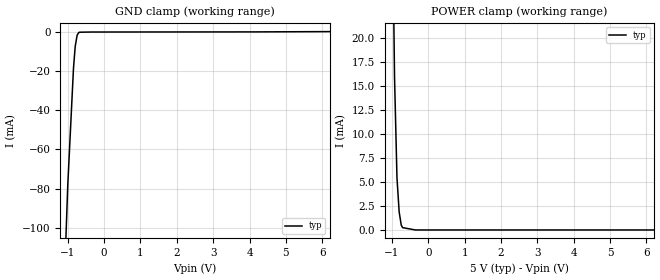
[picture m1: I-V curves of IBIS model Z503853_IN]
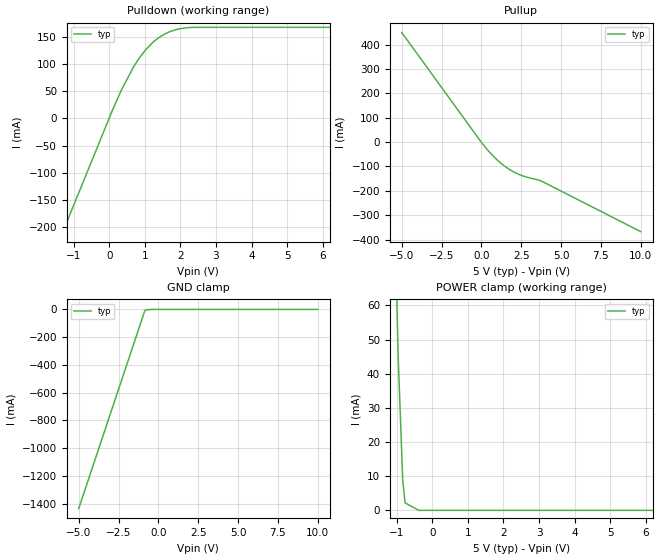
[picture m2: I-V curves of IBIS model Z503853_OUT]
| YOU ARE ONLY AUTHORIZED TO USE THIS SOFTWARE
| ACCORDING TO LICENSOR'S LICENSE RESTRICTIONS.
[IBIS Ver] 3.1
[File Name] mc74act32d.ibs
[File Rev] 2.0
[Source] Measured and created by ICX Technology
[Date] Friday 7/14/00 9:08:01 AM
[Copyright]
| (C) COPYRIGHT 1993-2000
| MENTOR GRAPHICS CORPORATION
| ICX STANDARD LIBRARY, ICX PROJECT MODELING,
| ICX CUSTOM MODELING, ICX VENDOR MODEL
| ALL RIGHTS RESERVED.
| THE FOLLOWING ARE TRADEMARKS OR SERVICE MARKS OF
| MENTOR GRAPHICS CORPORATION:ICX (R), ICX STANDARD
| LIBRARY(R), ICX PROJECT MODELING(R), ICX CUSTOM
| MODELING(R), qualityIBIS(TM), MODELVIEWER(TM),
| AND MODELEDITOR(TM)
| ALL COPIES OF SOFTWARE, INCLUDING BUT NOT LIMITED TO
| ANY MODIFICATIONS, ENHANCEMENTS OR DERIVATIVE WORKS,
| MUST CONTAIN ALL MENTOR GRAPHICS CORPORATION'S
| NOTICES AND LEGENDS, INCLUDING THOSE EMBEDDED IN
| SOFTWARE AND THOSE AFFIXED TO SOFTWARE MEDIUM
| AND CONTAINER, AS RECEIVED FROM MENTOR GRAPHICS
| CORPORATION.
|  ZAP Model Builder 2.7
[Component] MC74ACT32D
[Manufacturer] OnSemiconductor
[Package]
| variable   typ   min   max
R_pkg  .155ohms NA NA
L_pkg  3.028nH NA NA
C_pkg  .381pF NA NA
[Pin] signal_name  model_name  R_pin  L_pin C_pin
1 A Z503853_IN .16 3.587n .407p
2 B Z503853_IN .156 3.147n .387p
3 Y Z503853_OUT .152 2.717n .367p
4 A Z503853_IN .148 2.297n .347p
5 B Z503853_IN .152 2.717n .367p
6 Y Z503853_OUT .156 3.147n .387p
7 GROUND GND .16 3.587n .407p
8 Y Z503853_OUT .16 3.587n .407p
9 A Z503853_IN .156 3.147n .387p
10 B Z503853_IN .152 2.717n .367p
11 Y Z503853_OUT .148 2.297n .347p
12 A Z503853_IN .152 2.717n .367p
13 B Z503853_IN .156 3.147n .387p
14 VCC POWER .16 3.587n .407p
| Models and submodels in the file (2): Z503853_IN (Input), Z503853_OUT (Output)
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| (C) COPYRIGHT 1993-2000
| MENTOR GRAPHICS CORPORATION
| ICX STANDARD LIBRARY, ICX PROJECT MODELING,
| ICX CUSTOM MODELING, ICX VENDOR MODEL
| ALL RIGHTS RESERVED.
| THE FOLLOWING ARE TRADEMARKS OR SERVICE MARKS OF
| MENTOR GRAPHICS CORPORATION:ICX (R), ICX STANDARD
| LIBRARY(R), ICX PROJECT MODELING(R), ICX CUSTOM
| MODELING(R), qualityIBIS(TM), MODELVIEWER(TM),
| AND MODELEDITOR(TM)
| ALL COPIES OF SOFTWARE, INCLUDING BUT NOT LIMITED TO
| ANY MODIFICATIONS, ENHANCEMENTS OR DERIVATIVE WORKS,
| MUST CONTAIN ALL MENTOR GRAPHICS CORPORATION'S
| NOTICES AND LEGENDS, INCLUDING THOSE EMBEDDED IN
| SOFTWARE AND THOSE AFFIXED TO SOFTWARE MEDIUM
| AND CONTAINER, AS RECEIVED FROM MENTOR GRAPHICS
| CORPORATION.
| Model Application Version 1.89 2/18/99.
[Model] Z503853_IN
Model_type Input
Vinl = 800.0mV
Vinh = 2.000V
C_comp 4.000pF NA NA
| variable typ   min   max
[Voltage Range] 5.000V NA NA
[GND Clamp Reference] 0.000V NA NA
[POWER Clamp Reference] 5.000V NA NA
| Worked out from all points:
|   GND clamp passes 1 mA (typ) near -0.72 V on its own axis
|   POWER clamp passes 1 mA (typ) near -0.76 V on its own axis
[GND Clamp]
-5V       -2.825A    NA         NA
-1.051V   -105.8mA   NA         NA
-997.7mV  -77.82mA   NA         NA
-841.2mV  -18.44mA   NA         NA
-794.1mV  -7.396mA   NA         NA
-741.7mV  -1.662mA   NA         NA
-698.3mV  -341.9uA   NA         NA
-678.6mV  -114.6uA   NA         NA
-339.3mV  -17.22uA   NA         NA
4.141V    46.45uA    NA         NA
10V       479.9uA    NA         NA
[POWER Clamp]
-5V       2.006A     NA         NA
-1.201V   118mA      NA         NA
-1.05V    53.24mA    NA         NA
-928mV    15.93mA    NA         NA
-861mV    5.455mA    NA         NA
-801mV    1.888mA    NA         NA
-743mV    497.6uA    NA         NA
-704mV    240.3uA    NA         NA
-352mV    0A         NA         NA
10V       0A         NA         NA
| (C) COPYRIGHT 1993-2000
| MENTOR GRAPHICS CORPORATION
| ICX STANDARD LIBRARY, ICX PROJECT MODELING,
| ICX CUSTOM MODELING, ICX VENDOR MODEL
| ALL RIGHTS RESERVED.
| THE FOLLOWING ARE TRADEMARKS OR SERVICE MARKS OF
| MENTOR GRAPHICS CORPORATION:ICX (R), ICX STANDARD
| LIBRARY(R), ICX PROJECT MODELING(R), ICX CUSTOM
| MODELING(R), qualityIBIS(TM), MODELVIEWER(TM),
| AND MODELEDITOR(TM)
| ALL COPIES OF SOFTWARE, INCLUDING BUT NOT LIMITED TO
| ANY MODIFICATIONS, ENHANCEMENTS OR DERIVATIVE WORKS,
| MUST CONTAIN ALL MENTOR GRAPHICS CORPORATION'S
| NOTICES AND LEGENDS, INCLUDING THOSE EMBEDDED IN
| SOFTWARE AND THOSE AFFIXED TO SOFTWARE MEDIUM
| AND CONTAINER, AS RECEIVED FROM MENTOR GRAPHICS
| CORPORATION.
| Model Application Version 1.89 2/18/99.
[Model] Z503853_OUT
Model_type Output
Vref=0.000V
Rref=500.0Mohms
Cref=50.00pF
Vmeas=1.500V
C_comp 8.000pF NA NA
| variable typ   min   max
[Voltage Range] 5.000V NA NA
[POWER Clamp Reference] 5.000V NA NA
[Pullup Reference] 5.000V NA NA
[Pulldown Reference] 0.000V NA NA
[GND Clamp Reference] 0.000V NA NA
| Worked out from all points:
|   slope of the pulldown table from 0 to 0.75 V, typ, clamps not added: 7.47 ohm
|   slope of the pullup table from 0 to 0.75 V, typ, clamps not added: 13.2 ohm
[GND Clamp]
-5V       -1.435A    NA         NA
-875.2mV  -17.14mA   NA         NA
-819.8mV  -4.191mA   NA         NA
-409.9mV  0A         NA         NA
10V       0A         NA         NA
[Pulldown]
-5V       -797.5mA   NA         NA
84.42mV   14.86mA    NA         NA
347mV     53.34mA    NA         NA
683.8mV   95.03mA    NA         NA
825.2mV   109.5mA    NA         NA
1.01V     125.2mA    NA         NA
1.216V    139.2mA    NA         NA
1.469V    151.5mA    NA         NA
1.681V    158.7mA    NA         NA
2.012V    164.9mA    NA         NA
2.431V    167.2mA    NA         NA
10V       167.2mA    NA         NA
[Pullup]
-5V       450.4mA    NA         NA
13mV      -2.15mA    NA         NA
606mV     -48.05mA   NA         NA
1.116V    -80.57mA   NA         NA
1.726V    -110.8mA   NA         NA
2.133V    -125.8mA   NA         NA
2.836V    -143.6mA   NA         NA
3.729V    -158.7mA   NA         NA
10V       -367.7mA   NA         NA
[POWER Clamp]
-5V       1.849A     NA         NA
-967mV    45.68mA    NA         NA
-837mV    8.937mA    NA         NA
-771mV    2.205mA    NA         NA
-385.5mV  0A         NA         NA
10V       0A         NA         NA
[Ramp]
| variable typ min max
dV/dt_r 2.940/919.2p NA NA
dV/dt_f 2.940/834.8p NA NA
R_load = 500.0Ohms
